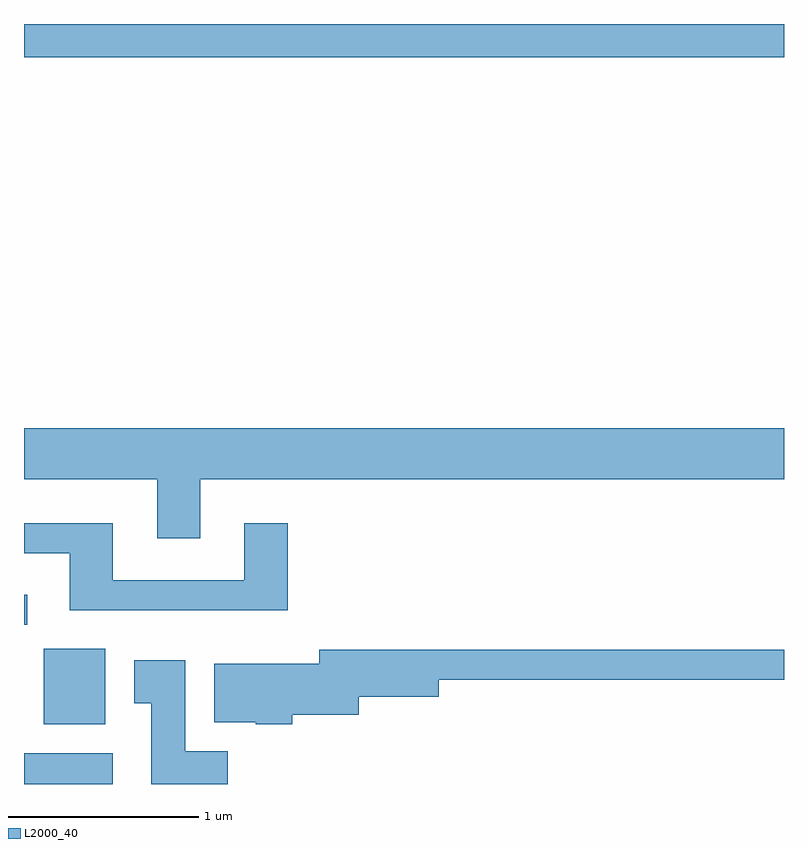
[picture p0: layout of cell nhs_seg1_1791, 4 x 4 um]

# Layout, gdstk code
import gdstk
lib = gdstk.Library(unit=1e-6, precision=1e-09)
def R(c, l, rs):  # rectangles x0, y0, x1, y1
    for r in rs: c.add(gdstk.rectangle(r[:2], r[2:], *l))
def P(c, l, *ps):  # polygons
    for p in ps: c.add(gdstk.Polygon(p, *l))
L2000_40 = (2000, 40)

nhs_seg1_1791 = lib.new_cell('nhs_seg1_1791')
R(nhs_seg1_1791, L2000_40, [(239.611,935.712,240.079,935.874), (239.716,936.026,240.039,936.424), (239.611,936.551,239.628,936.709), (239.611,939.536,243.611,939.712)])
P(nhs_seg1_1791, L2000_40, [(240.539,937.316),(243.611,937.316),(243.611,937.584),(239.611,937.584),(239.611,937.316),(240.311,937.316),(240.311,937.006),(240.539,937.006)],
  [(240.999,937.084),(240.771,937.084),(240.771,936.784),(240.079,936.784),(240.079,937.084),(239.611,937.084),(239.611,936.926),(239.851,936.926),(239.851,936.626),(240.999,936.626)],
  [(241.024,936.076),(241.374,936.076),(241.374,936.171),(241.794,936.171),(241.794,936.261),(243.611,936.261),(243.611,936.419),(241.166,936.419),(241.166,936.344),(240.611,936.344),(240.611,936.036),(240.83,936.036),(240.83,936.026),(241.024,936.026)],
  [(240.684,935.884),(240.459,935.884),(240.459,936.364),(240.191,936.364),(240.191,936.136),(240.281,936.136),(240.281,935.712),(240.684,935.712)])

lib.write_gds('nhs_seg1_1791.gds')
